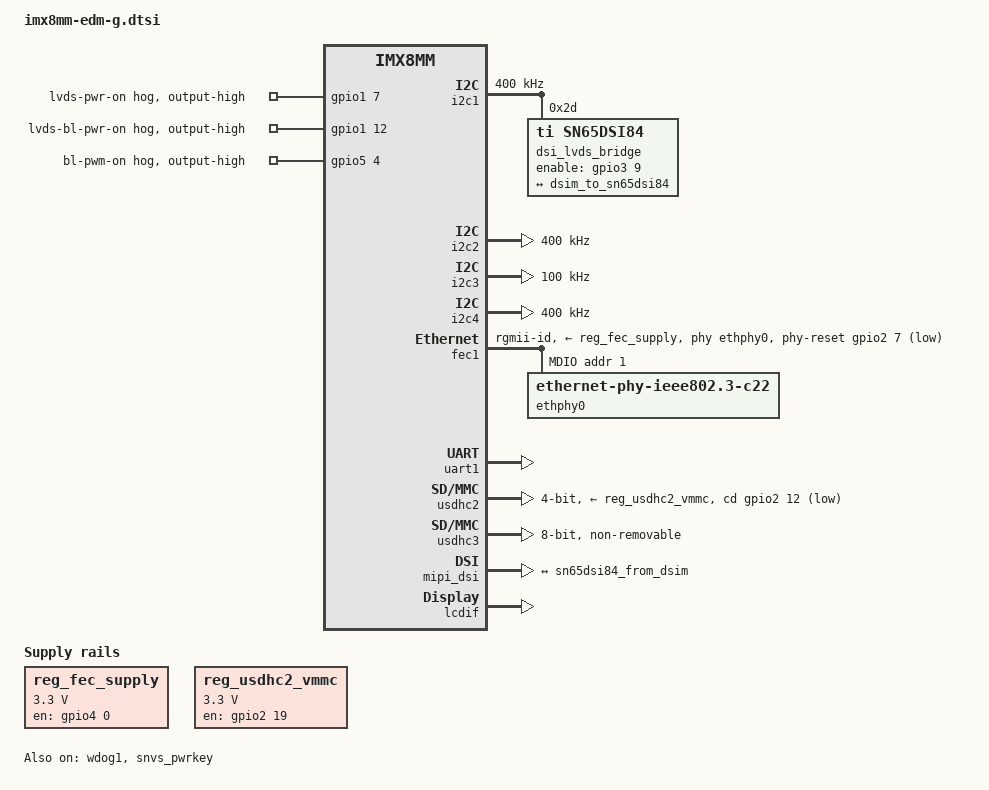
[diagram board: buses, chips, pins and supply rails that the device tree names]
/*
 * Copyright 2020 Technexion Ltd.
 *
 * Author: Richard <richard.hu@technexion.com>
 *
 * This program is free software; you can redistribute it and/or
 * modify it under the terms of the GNU General Public License
 * as published by the Free Software Foundation; either version 2
 * of the License, or (at your option) any later version.
 *
 * This program is distributed in the hope that it will be useful,
 * but WITHOUT ANY WARRANTY; without even the implied warranty of
 * MERCHANTABILITY or FITNESS FOR A PARTICULAR PURPOSE.  See the
 * GNU General Public License for more details.
 */

/dts-v1/;

#include "imx8mm.dtsi"

/ {
	chosen {
		bootargs = "console=ttymxc0,115200 earlycon=ec_imx6q,0x30860000,115200";
		stdout-patch = &uart1;
	};

	regulators {
		compatible = "simple-bus";
		#address-cells = <1>;
		#size-cells = <0>;

		reg_fec_supply: regulator_fecpwr {
			compatible = "regulator-fixed";
			pinctrl-names = "default";
			pinctrl-0 = <&pinctrl_fec_pwr_en>;
			regulator-name = "ENET_PWR_EN";
			regulator-min-microvolt = <3300000>;
			regulator-max-microvolt = <3300000>;
			gpio = <&gpio4 0 GPIO_ACTIVE_HIGH>;
			startup-delay-us = <10000>;
			enable-active-high;
		};

		reg_usdhc2_vmmc: regulator-usdhc2 {
			pinctrl-names = "default";
			pinctrl-0 = <&pinctrl_usdhc2_gpio>;
			compatible = "regulator-fixed";
			regulator-name = "SD_3V3";
			regulator-min-microvolt = <3300000>;
			regulator-max-microvolt = <3300000>;
			gpio = <&gpio2 19 GPIO_ACTIVE_HIGH>;
			off-on-delay-us = <20000>;
			enable-active-high;
		};
	};

	dsi_host: dsi-host {
		compatible = "samsung,sec-mipi-dsi";
		status = "okay";
	};
};

&iomuxc {
	pinctrl-names = "default";
	pinctrl-0 = <&pinctrl_hog_1>;

	imx8mm-edm-g {
		pinctrl_hog_1: hoggrp-1 {
			fsl,pins = <
				MX8MM_IOMUXC_GPIO1_IO08_GPIO1_IO8		0x19
			>;
		};

		pinctrl_fec_pwr_en: fec_pwr_en_irqgrp {
			fsl,pins = <
				MX8MM_IOMUXC_SAI1_RXFS_GPIO4_IO0   0x19
			>;
		};

		pinctrl_fec1: fec1grp {
			fsl,pins = <
				MX8MM_IOMUXC_ENET_MDC_ENET1_MDC				0x3
				MX8MM_IOMUXC_ENET_MDIO_ENET1_MDIO			0x3
				MX8MM_IOMUXC_ENET_TD3_ENET1_RGMII_TD3		0x1f
				MX8MM_IOMUXC_ENET_TD2_ENET1_RGMII_TD2		0x1f
				MX8MM_IOMUXC_ENET_TD1_ENET1_RGMII_TD1		0x1f
				MX8MM_IOMUXC_ENET_TD0_ENET1_RGMII_TD0		0x1f
				MX8MM_IOMUXC_ENET_RD3_ENET1_RGMII_RD3		0x91
				MX8MM_IOMUXC_ENET_RD2_ENET1_RGMII_RD2		0x91
				MX8MM_IOMUXC_ENET_RD1_ENET1_RGMII_RD1		0x91
				MX8MM_IOMUXC_ENET_RD0_ENET1_RGMII_RD0		0x91
				MX8MM_IOMUXC_ENET_TXC_ENET1_RGMII_TXC		0x1f
				MX8MM_IOMUXC_ENET_RXC_ENET1_RGMII_RXC		0x91
				MX8MM_IOMUXC_ENET_RX_CTL_ENET1_RGMII_RX_CTL	0x91
				MX8MM_IOMUXC_ENET_TX_CTL_ENET1_RGMII_TX_CTL	0x1f
				MX8MM_IOMUXC_SD1_DATA5_GPIO2_IO7	0x36	/* ENET_nRST */
			>;
		};

		pinctrl_i2c1: i2c1grp {
			fsl,pins = <
				MX8MM_IOMUXC_I2C1_SCL_I2C1_SCL			0x400001c3
				MX8MM_IOMUXC_I2C1_SDA_I2C1_SDA			0x400001c3
			>;
		};

		pinctrl_i2c2: i2c2grp {
			fsl,pins = <
				MX8MM_IOMUXC_I2C2_SCL_I2C2_SCL			0x400001c3
				MX8MM_IOMUXC_I2C2_SDA_I2C2_SDA			0x400001c3
			>;
		};

		pinctrl_i2c3: i2c3grp {
			fsl,pins = <
				MX8MM_IOMUXC_I2C3_SCL_I2C3_SCL			0x400001c3
				MX8MM_IOMUXC_I2C3_SDA_I2C3_SDA			0x400001c3
			>;
		};

		pinctrl_i2c4: i2c4grp {
			fsl,pins = <
				MX8MM_IOMUXC_I2C4_SCL_I2C4_SCL			0x400001c3
				MX8MM_IOMUXC_I2C4_SDA_I2C4_SDA			0x400001c3
			>;
		};

		pinctrl_pmic: pmicirq {
			fsl,pins = <
				MX8MM_IOMUXC_GPIO1_IO03_GPIO1_IO3		0x41
			>;
		};

		pinctrl_uart1: uart1grp {
			fsl,pins = <
				MX8MM_IOMUXC_SAI2_RXFS_UART1_DCE_TX	0x140
				MX8MM_IOMUXC_SAI2_RXC_UART1_DCE_RX	0x140
			>;
		};

		pinctrl_usdhc1: usdhc1grp {
			fsl,pins = <
				MX8MM_IOMUXC_SD1_CLK_USDHC1_CLK		0x190
				MX8MM_IOMUXC_SD1_CMD_USDHC1_CMD		0x1d0
				MX8MM_IOMUXC_SD1_DATA0_USDHC1_DATA0	0x1d0
				MX8MM_IOMUXC_SD1_DATA1_USDHC1_DATA1	0x1d0
				MX8MM_IOMUXC_SD1_DATA2_USDHC1_DATA2	0x1d0
				MX8MM_IOMUXC_SD1_DATA3_USDHC1_DATA3	0x1d0
				MX8MM_IOMUXC_SD1_STROBE_USDHC1_STROBE 0x190
			>;
		};

		pinctrl_usdhc1_100mhz: usdhc1grp100mhz {
			fsl,pins = <
				MX8MM_IOMUXC_SD1_CLK_USDHC1_CLK		0x194
				MX8MM_IOMUXC_SD1_CMD_USDHC1_CMD		0x1d4
				MX8MM_IOMUXC_SD1_DATA0_USDHC1_DATA0	0x1d4
				MX8MM_IOMUXC_SD1_DATA1_USDHC1_DATA1	0x1d4
				MX8MM_IOMUXC_SD1_DATA2_USDHC1_DATA2	0x1d4
				MX8MM_IOMUXC_SD1_DATA3_USDHC1_DATA3	0x1d4
				MX8MM_IOMUXC_SD1_STROBE_USDHC1_STROBE 0x194
			>;
		};

		pinctrl_usdhc1_200mhz: usdhc1grp200mhz {
			fsl,pins = <
				MX8MM_IOMUXC_SD1_CLK_USDHC1_CLK		0x196
				MX8MM_IOMUXC_SD1_CMD_USDHC1_CMD		0x1d6
				MX8MM_IOMUXC_SD1_DATA0_USDHC1_DATA0	0x1d6
				MX8MM_IOMUXC_SD1_DATA1_USDHC1_DATA1	0x1d6
				MX8MM_IOMUXC_SD1_DATA2_USDHC1_DATA2	0x1d6
				MX8MM_IOMUXC_SD1_DATA3_USDHC1_DATA3	0x1d6
				MX8MM_IOMUXC_SD1_STROBE_USDHC1_STROBE 0x196
			>;
		};

		pinctrl_usdhc2_gpio: usdhc2grpgpio {
			fsl,pins = <
				MX8MM_IOMUXC_SD2_CD_B_GPIO2_IO12	0x1c4
				MX8MM_IOMUXC_SD2_RESET_B_GPIO2_IO19	0x41
			>;
		};

		pinctrl_usdhc2: usdhc2grp {
			fsl,pins = <
				MX8MM_IOMUXC_SD2_CLK_USDHC2_CLK		0x190
				MX8MM_IOMUXC_SD2_CMD_USDHC2_CMD		0x1d0
				MX8MM_IOMUXC_SD2_DATA0_USDHC2_DATA0	0x1d0
				MX8MM_IOMUXC_SD2_DATA1_USDHC2_DATA1	0x1d0
				MX8MM_IOMUXC_SD2_DATA2_USDHC2_DATA2	0x1d0
				MX8MM_IOMUXC_SD2_DATA3_USDHC2_DATA3	0x1d0
				MX8MM_IOMUXC_GPIO1_IO04_USDHC2_VSELECT	0x1d0
			>;
		};

		pinctrl_usdhc2_100mhz: usdhc2grp100mhz {
			fsl,pins = <
				MX8MM_IOMUXC_SD2_CLK_USDHC2_CLK		0x194
				MX8MM_IOMUXC_SD2_CMD_USDHC2_CMD		0x1d4
				MX8MM_IOMUXC_SD2_DATA0_USDHC2_DATA0	0x1d4
				MX8MM_IOMUXC_SD2_DATA1_USDHC2_DATA1	0x1d4
				MX8MM_IOMUXC_SD2_DATA2_USDHC2_DATA2	0x1d4
				MX8MM_IOMUXC_SD2_DATA3_USDHC2_DATA3	0x1d4
				MX8MM_IOMUXC_GPIO1_IO04_USDHC2_VSELECT	0x1d0
			>;
		};

		pinctrl_usdhc2_200mhz: usdhc2grp200mhz {
			fsl,pins = <
				MX8MM_IOMUXC_SD2_CLK_USDHC2_CLK		0x196
				MX8MM_IOMUXC_SD2_CMD_USDHC2_CMD		0x1d6
				MX8MM_IOMUXC_SD2_DATA0_USDHC2_DATA0	0x1d6
				MX8MM_IOMUXC_SD2_DATA1_USDHC2_DATA1	0x1d6
				MX8MM_IOMUXC_SD2_DATA2_USDHC2_DATA2	0x1d6
				MX8MM_IOMUXC_SD2_DATA3_USDHC2_DATA3	0x1d6
				MX8MM_IOMUXC_GPIO1_IO04_USDHC2_VSELECT	0x1d0
			>;
		};

		pinctrl_usdhc3: usdhc3grp {
			fsl,pins = <
				MX8MM_IOMUXC_NAND_WE_B_USDHC3_CLK		0x190
				MX8MM_IOMUXC_NAND_WP_B_USDHC3_CMD		0x1d0
				MX8MM_IOMUXC_NAND_DATA04_USDHC3_DATA0		0x1d0
				MX8MM_IOMUXC_NAND_DATA05_USDHC3_DATA1		0x1d0
				MX8MM_IOMUXC_NAND_DATA06_USDHC3_DATA2		0x1d0
				MX8MM_IOMUXC_NAND_DATA07_USDHC3_DATA3		0x1d0
				MX8MM_IOMUXC_NAND_RE_B_USDHC3_DATA4		0x1d0
				MX8MM_IOMUXC_NAND_CE2_B_USDHC3_DATA5		0x1d0
				MX8MM_IOMUXC_NAND_CE3_B_USDHC3_DATA6		0x1d0
				MX8MM_IOMUXC_NAND_CLE_USDHC3_DATA7		0x1d0
				MX8MM_IOMUXC_NAND_CE1_B_USDHC3_STROBE 		0x190
			>;
		};

		pinctrl_usdhc3_100mhz: usdhc3grp100mhz {
			fsl,pins = <
				MX8MM_IOMUXC_NAND_WE_B_USDHC3_CLK		0x194
				MX8MM_IOMUXC_NAND_WP_B_USDHC3_CMD		0x1d4
				MX8MM_IOMUXC_NAND_DATA04_USDHC3_DATA0		0x1d4
				MX8MM_IOMUXC_NAND_DATA05_USDHC3_DATA1		0x1d4
				MX8MM_IOMUXC_NAND_DATA06_USDHC3_DATA2		0x1d4
				MX8MM_IOMUXC_NAND_DATA07_USDHC3_DATA3		0x1d4
				MX8MM_IOMUXC_NAND_RE_B_USDHC3_DATA4		0x1d4
				MX8MM_IOMUXC_NAND_CE2_B_USDHC3_DATA5		0x1d4
				MX8MM_IOMUXC_NAND_CE3_B_USDHC3_DATA6		0x1d4
				MX8MM_IOMUXC_NAND_CLE_USDHC3_DATA7		0x1d4
				MX8MM_IOMUXC_NAND_CE1_B_USDHC3_STROBE 		0x194
			>;
		};

		pinctrl_usdhc3_200mhz: usdhc3grp200mhz {
			fsl,pins = <
				MX8MM_IOMUXC_NAND_WE_B_USDHC3_CLK		0x196
				MX8MM_IOMUXC_NAND_WP_B_USDHC3_CMD		0x1d6
				MX8MM_IOMUXC_NAND_DATA04_USDHC3_DATA0		0x1d6
				MX8MM_IOMUXC_NAND_DATA05_USDHC3_DATA1		0x1d6
				MX8MM_IOMUXC_NAND_DATA06_USDHC3_DATA2		0x1d6
				MX8MM_IOMUXC_NAND_DATA07_USDHC3_DATA3		0x1d6
				MX8MM_IOMUXC_NAND_RE_B_USDHC3_DATA4		0x1d6
				MX8MM_IOMUXC_NAND_CE2_B_USDHC3_DATA5		0x1d6
				MX8MM_IOMUXC_NAND_CE3_B_USDHC3_DATA6		0x1d6
				MX8MM_IOMUXC_NAND_CLE_USDHC3_DATA7		0x1d6
				MX8MM_IOMUXC_NAND_CE1_B_USDHC3_STROBE 		0x196
			>;
		};

		pinctrl_wdog: wdoggrp {
			fsl,pins = <
				MX8MM_IOMUXC_GPIO1_IO02_WDOG1_WDOG_B		0xc6
			>;
		};

		pinctrl_mipi_dsi_en: mipi_dsi_en {
			fsl,pins = <
				MX8MM_IOMUXC_NAND_DATA03_GPIO3_IO9      0x16   /* enable pin of sn65dsi84 */
			>;
		};

		pinctrl_lvds0_backlight_pwr: lvds0_bl_pwrgrp {
			fsl,pins = <
				MX8MM_IOMUXC_GPIO1_IO12_GPIO1_IO12		0x19
			>;
		};

		pinctrl_lvds0_pwr: lvds0_pwrgrp {
			fsl,pins = <
				MX8MM_IOMUXC_GPIO1_IO07_GPIO1_IO7		0x19
			>;
		};

		pinctrl_lvds_bl_pwm: lvds_bl_pwngrp{
			fsl,pins = <
				MX8MM_IOMUXC_SPDIF_RX_GPIO5_IO4			0x19
			>;
		};
	};
};



&i2c1 {
	clock-frequency = <400000>;
	pinctrl-names = "default";
	pinctrl-0 = <&pinctrl_i2c1>;
	status = "okay";
	dsi_lvds_bridge: sn65dsi84@2d {
		reg = <0x2d>;
		compatible = "ti,sn65dsi84";
		#gpio-cells = <2>;
		dsi-lanes = <4>;
		pinctrl-0 = <&pinctrl_mipi_dsi_en>;
		enable-gpios = <&gpio3 9 GPIO_ACTIVE_HIGH>;

		status = "okay";

		port@2 {
			sn65dsi84_from_dsim: endpoint {
				remote-endpoint = <&dsim_to_sn65dsi84>;
			};
		};

	};

};

&i2c2 {
	clock-frequency = <400000>;
	pinctrl-names = "default";
	pinctrl-0 = <&pinctrl_i2c2>;
	status = "okay";
};

&i2c3 {
	clock-frequency = <100000>;
	pinctrl-names = "default";
	pinctrl-0 = <&pinctrl_i2c3>;
	status = "okay";
};

&i2c4 {
	clock-frequency = <400000>;
	pinctrl-names = "default";
	pinctrl-0 = <&pinctrl_i2c4>;
	status = "okay";
};

&fec1 {
	pinctrl-names = "default";
	pinctrl-0 = <&pinctrl_fec1>;
	phy-mode = "rgmii-id";
	phy-handle = <&ethphy0>;
	phy-reset-gpios = <&gpio2 7 GPIO_ACTIVE_LOW>;
	phy-reset-duration = <35>;
	phy-reset-post-delay = <75>;
	phy-supply = <&reg_fec_supply>;
	fsl,magic-packet;
	status = "okay";

	mdio {
		#address-cells = <1>;
		#size-cells = <0>;

		ethphy0: ethernet-phy@0 {
			compatible = "ethernet-phy-ieee802.3-c22";
			reg = <1>;
			at803x,led-act-blind-workaround;
			at803x,eee-disabled;
		};
	};
};

&uart1 {  /* A53 console, UART_A */
	pinctrl-names = "default";
	pinctrl-0 = <&pinctrl_uart1>;
	status = "okay";
};

/* WIFI SDIO */
&usdhc1 {
	pinctrl-names = "default", "state_100mhz", "state_200mhz";
	pinctrl-0 = <&pinctrl_usdhc1>;
	pinctrl-1 = <&pinctrl_usdhc1_100mhz>;
	pinctrl-2 = <&pinctrl_usdhc1_200mhz>;
	bus-width = <4>;
	non-removable;
	status = "disabled";
};

/* SD card on baseboard */
&usdhc2 {
	assigned-clocks = <&clk IMX8MM_CLK_USDHC2>;
	assigned-clock-rates = <200000000>;
	pinctrl-names = "default", "state_100mhz", "state_200mhz";
	pinctrl-0 = <&pinctrl_usdhc2>, <&pinctrl_usdhc2_gpio>;
	pinctrl-1 = <&pinctrl_usdhc2_100mhz>, <&pinctrl_usdhc2_gpio>;
	pinctrl-2 = <&pinctrl_usdhc2_200mhz>, <&pinctrl_usdhc2_gpio>;
	cd-gpios = <&gpio2 12 GPIO_ACTIVE_LOW>;
	vmmc-supply = <&reg_usdhc2_vmmc>;
	bus-width = <4>;
	status = "okay";
};

/* eMMC on SOM */
&usdhc3 {
	assigned-clocks = <&clk IMX8MM_CLK_USDHC3_ROOT>;
	assigned-clock-rates = <400000000>;
	pinctrl-names = "default", "state_100mhz", "state_200mhz";
	pinctrl-0 = <&pinctrl_usdhc3>;
	pinctrl-1 = <&pinctrl_usdhc3_100mhz>;
	pinctrl-2 = <&pinctrl_usdhc3_200mhz>;
	bus-width = <8>;
	non-removable;
	status = "okay";
};

&wdog1 {
	pinctrl-names = "default";
	pinctrl-0 = <&pinctrl_wdog>;
	fsl,ext-reset-output;
	status = "okay";
};
/*
&A53_0 {
	cpu-supply = <&buck2_reg>;
};
*/

&gpio1 {
	lvds-pwr-on {
		pinctrl-names = "default";
		pinctrl-0 = <&pinctrl_lvds0_pwr>;
		gpio-hog;
		gpios = <7 GPIO_ACTIVE_HIGH>;
		output-high;
	};

	lvds-bl-pwr-on {
		pinctrl-names = "default";
		pinctrl-0 = <&pinctrl_lvds0_backlight_pwr>;
		gpio-hog;
		gpios = <12 GPIO_ACTIVE_HIGH>;
		output-high;
	};
};

&gpio5 {
	bl-pwm-on {
		pinctrl-names = "default";
		pinctrl-0 = <&pinctrl_lvds_bl_pwm>;
		gpio-hog;
		gpios = <4 GPIO_ACTIVE_HIGH>;
		output-high;
	};
};

&mipi_dsi {
	/delete-property/ assigned-clocks;
	/delete-property/ assigned-clock-parents;
	/delete-property/ assigned-clock-rates;
	status = "okay";
	#address-cells = <1>;
	#size-cells = <0>;

	port@2{
		dsim_to_sn65dsi84: endpoint {
			remote-endpoint = <&sn65dsi84_from_dsim>;
		};
	};
};

&snvs_pwrkey {
	status = "okay";
};

&lcdif {
	enable_polarity_low;
	/delete-property/ assigned-clocks;
	/delete-property/ assigned-clock-parents;
	/delete-property/ assigned-clock-rates;
	display = <&display0>;
	status = "okay";

	display0: display@0 {
		bits-per-pixel = <24>;
		bus-width = <24>;
	};

};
